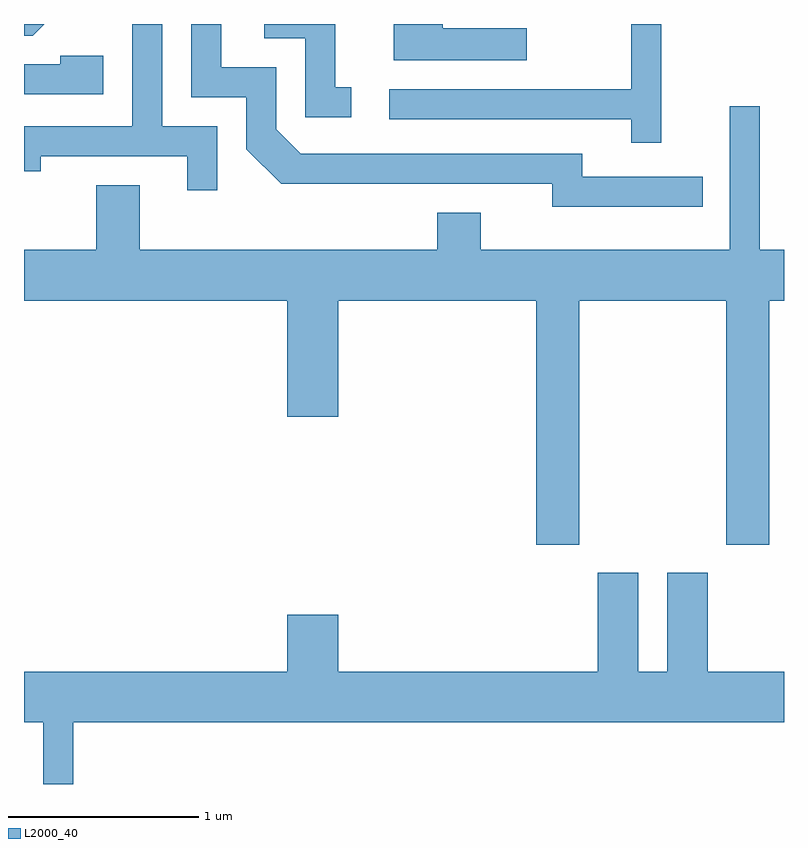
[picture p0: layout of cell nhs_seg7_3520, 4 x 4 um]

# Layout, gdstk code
import gdstk
lib = gdstk.Library(unit=1e-6, precision=1e-09)
def P(c, l, *ps):  # polygons
    for p in ps: c.add(gdstk.Polygon(p, *l))
L2000_40 = (2000, 40)

nhs_seg7_3520 = lib.new_cell('nhs_seg7_3520')
P(nhs_seg7_3520, L2000_40, [(293.718,1680.252),(293.611,1680.252),(293.611,1680.191),(293.657,1680.191)],
  [(294.629,1679.714),(294.339,1679.714),(294.339,1680.252),(294.181,1680.252),(294.181,1679.714),(293.611,1679.714),(293.611,1679.478),(293.699,1679.478),(293.699,1679.556),(294.471,1679.556),(294.471,1679.378),(294.629,1679.378)],
  [(295.333,1679.919),(295.249,1679.919),(295.249,1680.252),(294.876,1680.252),(294.876,1680.176),(295.091,1680.176),(295.091,1679.761),(295.333,1679.761)],
  [(296.258,1680.229),(295.814,1680.229),(295.814,1680.252),(295.556,1680.252),(295.556,1680.061),(296.258,1680.061)],
  [(296.964,1680.252),(296.806,1680.252),(296.806,1679.909),(295.533,1679.909),(295.533,1679.751),(296.806,1679.751),(296.806,1679.628),(296.964,1679.628)],
  [(297.183,1679.449),(296.549,1679.449),(296.549,1679.569),(295.067,1679.569),(294.939,1679.697),(294.939,1680.024),(294.649,1680.024),(294.649,1680.252),(294.491,1680.252),(294.491,1679.866),(294.781,1679.866),(294.781,1679.594),(294.964,1679.411),(296.391,1679.411),(296.391,1679.291),(297.183,1679.291)],
  [(294.029,1680.084),(293.801,1680.084),(293.801,1680.039),(293.611,1680.039),(293.611,1679.881),(294.029,1679.881)],
  [(293.991,1679.404),(293.991,1679.064),(293.611,1679.064),(293.611,1678.796),(294.996,1678.796),(294.996,1678.186),(295.264,1678.186),(295.264,1678.796),(296.306,1678.796),(296.306,1677.511),(296.534,1677.511),(296.534,1678.796),(297.306,1678.796),(297.306,1677.511),(297.534,1677.511),(297.534,1678.796),(297.611,1678.796),(297.611,1679.064),(297.484,1679.064),(297.484,1679.818),(297.326,1679.818),(297.326,1679.064),(296.014,1679.064),(296.014,1679.259),(295.786,1679.259),(295.786,1679.064),(294.219,1679.064),(294.219,1679.404)],
  [(293.869,1676.576),(297.611,1676.576),(297.611,1676.844),(297.209,1676.844),(297.209,1677.364),(296.996,1677.364),(296.996,1676.844),(296.844,1676.844),(296.844,1677.364),(296.631,1677.364),(296.631,1676.844),(295.264,1676.844),(295.264,1677.144),(294.996,1677.144),(294.996,1676.844),(293.611,1676.844),(293.611,1676.576),(293.711,1676.576),(293.711,1676.252),(293.869,1676.252)])

lib.write_gds('nhs_seg7_3520.gds')
